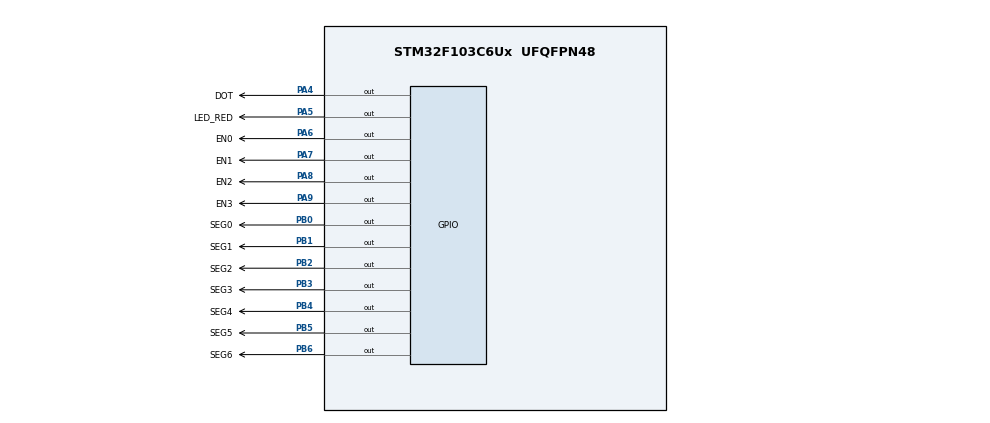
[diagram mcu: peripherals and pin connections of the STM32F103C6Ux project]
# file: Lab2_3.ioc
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Mcu.Family=STM32F1
Mcu.Name=STM32F103C6Ux
Mcu.Package=UFQFPN48
NVIC.PriorityGroup=NVIC_PRIORITYGROUP_4
NVIC.TIM2_IRQn=true\:0\:0\:false\:false\:true\:true\:true
PA4.GPIO_Label=DOT
PA4.Signal=GPIO_Output
PA5.GPIO_Label=LED_RED
PA5.Signal=GPIO_Output
PA6.GPIO_Label=EN0
PA6.Signal=GPIO_Output
PA7.GPIO_Label=EN1
PA7.Signal=GPIO_Output
PA8.GPIO_Label=EN2
PA8.Signal=GPIO_Output
PA9.GPIO_Label=EN3
PA9.Signal=GPIO_Output
PB0.GPIO_Label=SEG0
PB0.Signal=GPIO_Output
PB1.GPIO_Label=SEG1
PB1.Signal=GPIO_Output
PB2.GPIO_Label=SEG2
PB2.Signal=GPIO_Output
PB3.GPIO_Label=SEG3
PB3.Signal=GPIO_Output
PB4.GPIO_Label=SEG4
PB4.Signal=GPIO_Output
PB5.GPIO_Label=SEG5
PB5.Signal=GPIO_Output
PB6.GPIO_Label=SEG6
PB6.Signal=GPIO_Output
ProjectManager.HeapSize=0x200
ProjectManager.StackSize=0x400
ProjectManager.TargetToolchain=STM32CubeIDE
RCC.APB1Freq_Value=8000000
RCC.APB2Freq_Value=8000000
TIM2.Period=9
TIM2.Prescaler=7999
VP_SYS_VS_ND.Mode=No_Debug
VP_TIM2_VS_ClockSourceINT.Mode=Internal
board=custom

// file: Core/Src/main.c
/* USER CODE BEGIN Header */
/**
  ******************************************************************************
  * @file           : main.c
  * @brief          : Main program body
  ******************************************************************************
  * @attention
  *
  * <h2><center>&copy; Copyright (c) 2024 STMicroelectronics.
  * All rights reserved.</center></h2>
  *
  * This software component is licensed by ST under BSD 3-Clause license,
  * the "License"; You may not use this file except in compliance with the
  * License. You may obtain a copy of the License at:
  *                        opensource.org/licenses/BSD-3-Clause
  *
  ******************************************************************************
  */
/* USER CODE END Header */
#include "main.h"

TIM_HandleTypeDef htim2;

void SystemClock_Config(void);
static void MX_GPIO_Init(void);
static void MX_TIM2_Init(void);

int main(void)
{

  /* MCU Configuration--------------------------------------------------------*/

  /* Reset of all peripherals, Initializes the Flash interface and the Systick. */
  HAL_Init();

  /* Configure the system clock */
  SystemClock_Config();

  /* Initialize all configured peripherals */
  MX_GPIO_Init();
  MX_TIM2_Init();
  /* USER CODE BEGIN 2 */
  HAL_TIM_Base_Start_IT(&htim2);
  /* USER CODE END 2 */

  /* Infinite loop */
  while (1)
  {

  }
}

void SystemClock_Config(void)
{
  RCC_OscInitTypeDef RCC_OscInitStruct = {0};
  RCC_ClkInitTypeDef RCC_ClkInitStruct = {0};

  /** Initializes the RCC Oscillators according to the specified parameters
  * in the RCC_OscInitTypeDef structure.
  */
  RCC_OscInitStruct.OscillatorType = RCC_OSCILLATORTYPE_HSI;
  RCC_OscInitStruct.HSIState = RCC_HSI_ON;
  RCC_OscInitStruct.HSICalibrationValue = RCC_HSICALIBRATION_DEFAULT;
  RCC_OscInitStruct.PLL.PLLState = RCC_PLL_NONE;
  if (HAL_RCC_OscConfig(&RCC_OscInitStruct) != HAL_OK)
  {
    Error_Handler();
  }
  /** Initializes the CPU, AHB and APB buses clocks
  */
  RCC_ClkInitStruct.ClockType = RCC_CLOCKTYPE_HCLK|RCC_CLOCKTYPE_SYSCLK
                              |RCC_CLOCKTYPE_PCLK1|RCC_CLOCKTYPE_PCLK2;
  RCC_ClkInitStruct.SYSCLKSource = RCC_SYSCLKSOURCE_HSI;
  RCC_ClkInitStruct.AHBCLKDivider = RCC_SYSCLK_DIV1;
  RCC_ClkInitStruct.APB1CLKDivider = RCC_HCLK_DIV1;
  RCC_ClkInitStruct.APB2CLKDivider = RCC_HCLK_DIV1;

  if (HAL_RCC_ClockConfig(&RCC_ClkInitStruct, FLASH_LATENCY_0) != HAL_OK)
  {
    Error_Handler();
  }
}

static void MX_TIM2_Init(void)
{

  TIM_ClockConfigTypeDef sClockSourceConfig = {0};
  TIM_MasterConfigTypeDef sMasterConfig = {0};

  htim2.Instance = TIM2;
  htim2.Init.Prescaler = 7999;
  htim2.Init.CounterMode = TIM_COUNTERMODE_UP;
  htim2.Init.Period = 9;
  htim2.Init.ClockDivision = TIM_CLOCKDIVISION_DIV1;
  htim2.Init.AutoReloadPreload = TIM_AUTORELOAD_PRELOAD_DISABLE;
  if (HAL_TIM_Base_Init(&htim2) != HAL_OK)
  {
    Error_Handler();
  }
  sClockSourceConfig.ClockSource = TIM_CLOCKSOURCE_INTERNAL;
  if (HAL_TIM_ConfigClockSource(&htim2, &sClockSourceConfig) != HAL_OK)
  {
    Error_Handler();
  }
  sMasterConfig.MasterOutputTrigger = TIM_TRGO_RESET;
  sMasterConfig.MasterSlaveMode = TIM_MASTERSLAVEMODE_DISABLE;
  if (HAL_TIMEx_MasterConfigSynchronization(&htim2, &sMasterConfig) != HAL_OK)
  {
    Error_Handler();
  }

}

static void MX_GPIO_Init(void)
{
  GPIO_InitTypeDef GPIO_InitStruct = {0};

  /* GPIO Ports Clock Enable */
  __HAL_RCC_GPIOA_CLK_ENABLE();
  __HAL_RCC_GPIOB_CLK_ENABLE();

  /*Configure GPIO pin Output Level */
  HAL_GPIO_WritePin(GPIOA, DOT_Pin|LED_RED_Pin|EN0_Pin|EN1_Pin
                          |EN2_Pin|EN3_Pin, GPIO_PIN_RESET);

  /*Configure GPIO pin Output Level */
  HAL_GPIO_WritePin(GPIOB, SEG0_Pin|SEG1_Pin|SEG2_Pin|SEG3_Pin
                          |SEG4_Pin|SEG5_Pin|SEG6_Pin, GPIO_PIN_RESET);

  /*Configure GPIO pins : DOT_Pin LED_RED_Pin EN0_Pin EN1_Pin
                           EN2_Pin EN3_Pin */
  GPIO_InitStruct.Pin = DOT_Pin|LED_RED_Pin|EN0_Pin|EN1_Pin
                          |EN2_Pin|EN3_Pin;
  GPIO_InitStruct.Mode = GPIO_MODE_OUTPUT_PP;
  GPIO_InitStruct.Pull = GPIO_NOPULL;
  GPIO_InitStruct.Speed = GPIO_SPEED_FREQ_LOW;
  HAL_GPIO_Init(GPIOA, &GPIO_InitStruct);

  /*Configure GPIO pins : SEG0_Pin SEG1_Pin SEG2_Pin SEG3_Pin
                           SEG4_Pin SEG5_Pin SEG6_Pin */
  GPIO_InitStruct.Pin = SEG0_Pin|SEG1_Pin|SEG2_Pin|SEG3_Pin
                          |SEG4_Pin|SEG5_Pin|SEG6_Pin;
  GPIO_InitStruct.Mode = GPIO_MODE_OUTPUT_PP;
  GPIO_InitStruct.Pull = GPIO_NOPULL;
  GPIO_InitStruct.Speed = GPIO_SPEED_FREQ_LOW;
  HAL_GPIO_Init(GPIOB, &GPIO_InitStruct);

}

/* USER CODE BEGIN 4 */
void display7SEG(int num)
{
	if(num == 0)
	{
		HAL_GPIO_WritePin(SEG0_GPIO_Port, SEG0_Pin, RESET);
		HAL_GPIO_WritePin(SEG1_GPIO_Port, SEG1_Pin, RESET);
		HAL_GPIO_WritePin(SEG2_GPIO_Port, SEG2_Pin, RESET);
		HAL_GPIO_WritePin(SEG3_GPIO_Port, SEG3_Pin, RESET);
		HAL_GPIO_WritePin(SEG4_GPIO_Port, SEG4_Pin, RESET);
		HAL_GPIO_WritePin(SEG5_GPIO_Port, SEG5_Pin, RESET);
		HAL_GPIO_WritePin(SEG6_GPIO_Port, SEG6_Pin, SET);
	}
	else if(num == 1)
	{
		HAL_GPIO_WritePin(SEG0_GPIO_Port, SEG0_Pin, SET);
		HAL_GPIO_WritePin(SEG1_GPIO_Port, SEG1_Pin, RESET);
		HAL_GPIO_WritePin(SEG2_GPIO_Port, SEG2_Pin, RESET);
		HAL_GPIO_WritePin(SEG3_GPIO_Port, SEG3_Pin, SET);
		HAL_GPIO_WritePin(SEG4_GPIO_Port, SEG4_Pin, SET);
		HAL_GPIO_WritePin(SEG5_GPIO_Port, SEG5_Pin, SET);
		HAL_GPIO_WritePin(SEG6_GPIO_Port, SEG6_Pin, SET);
	}
	else if(num == 2)
	{
		HAL_GPIO_WritePin(SEG0_GPIO_Port, SEG0_Pin, RESET);
		HAL_GPIO_WritePin(SEG1_GPIO_Port, SEG1_Pin, RESET);
		HAL_GPIO_WritePin(SEG2_GPIO_Port, SEG2_Pin, SET);
		HAL_GPIO_WritePin(SEG3_GPIO_Port, SEG3_Pin, RESET);
		HAL_GPIO_WritePin(SEG4_GPIO_Port, SEG4_Pin, RESET);
		HAL_GPIO_WritePin(SEG5_GPIO_Port, SEG5_Pin, SET);
		HAL_GPIO_WritePin(SEG6_GPIO_Port, SEG6_Pin, RESET);
	}
	else if(num == 3)
	{
		HAL_GPIO_WritePin(SEG0_GPIO_Port, SEG0_Pin, RESET);
		HAL_GPIO_WritePin(SEG1_GPIO_Port, SEG1_Pin, RESET);
		HAL_GPIO_WritePin(SEG2_GPIO_Port, SEG2_Pin, RESET);
		HAL_GPIO_WritePin(SEG3_GPIO_Port, SEG3_Pin, RESET);
		HAL_GPIO_WritePin(SEG4_GPIO_Port, SEG4_Pin, SET);
		HAL_GPIO_WritePin(SEG5_GPIO_Port, SEG5_Pin, SET);
		HAL_GPIO_WritePin(SEG6_GPIO_Port, SEG6_Pin, RESET);
	}
	else if(num == 4)
	{
		HAL_GPIO_WritePin(SEG0_GPIO_Port, SEG0_Pin, SET);
		HAL_GPIO_WritePin(SEG1_GPIO_Port, SEG1_Pin, RESET);
		HAL_GPIO_WritePin(SEG2_GPIO_Port, SEG2_Pin, RESET);
		HAL_GPIO_WritePin(SEG3_GPIO_Port, SEG3_Pin, SET);
		HAL_GPIO_WritePin(SEG4_GPIO_Port, SEG4_Pin, SET);
		HAL_GPIO_WritePin(SEG5_GPIO_Port, SEG5_Pin, RESET);
		HAL_GPIO_WritePin(SEG6_GPIO_Port, SEG6_Pin, RESET);
	}
	else if(num == 5)
	{
		HAL_GPIO_WritePin(SEG0_GPIO_Port, SEG0_Pin, RESET);
		HAL_GPIO_WritePin(SEG1_GPIO_Port, SEG1_Pin, SET);
		HAL_GPIO_WritePin(SEG2_GPIO_Port, SEG2_Pin, RESET);
		HAL_GPIO_WritePin(SEG3_GPIO_Port, SEG3_Pin, RESET);
		HAL_GPIO_WritePin(SEG4_GPIO_Port, SEG4_Pin, SET);
		HAL_GPIO_WritePin(SEG5_GPIO_Port, SEG5_Pin, RESET);
		HAL_GPIO_WritePin(SEG6_GPIO_Port, SEG6_Pin, RESET);
	}
	else if(num == 6)
	{
		HAL_GPIO_WritePin(SEG0_GPIO_Port, SEG0_Pin, RESET);
		HAL_GPIO_WritePin(SEG1_GPIO_Port, SEG1_Pin, SET);
		HAL_GPIO_WritePin(SEG2_GPIO_Port, SEG2_Pin, RESET);
		HAL_GPIO_WritePin(SEG3_GPIO_Port, SEG3_Pin, RESET);
		HAL_GPIO_WritePin(SEG4_GPIO_Port, SEG4_Pin, RESET);
		HAL_GPIO_WritePin(SEG5_GPIO_Port, SEG5_Pin, RESET);
		HAL_GPIO_WritePin(SEG6_GPIO_Port, SEG6_Pin, RESET);
	}
	else if(num == 7)
	{
		HAL_GPIO_WritePin(SEG0_GPIO_Port, SEG0_Pin, RESET);
		HAL_GPIO_WritePin(SEG1_GPIO_Port, SEG1_Pin, RESET);
		HAL_GPIO_WritePin(SEG2_GPIO_Port, SEG2_Pin, RESET);
		HAL_GPIO_WritePin(SEG3_GPIO_Port, SEG3_Pin, SET);
		HAL_GPIO_WritePin(SEG4_GPIO_Port, SEG4_Pin, SET);
		HAL_GPIO_WritePin(SEG5_GPIO_Port, SEG5_Pin, SET);
		HAL_GPIO_WritePin(SEG6_GPIO_Port, SEG6_Pin, SET);
	}
	else if(num == 8)
	{
		HAL_GPIO_WritePin(SEG0_GPIO_Port, SEG0_Pin, RESET);
		HAL_GPIO_WritePin(SEG1_GPIO_Port, SEG1_Pin, RESET);
		HAL_GPIO_WritePin(SEG2_GPIO_Port, SEG2_Pin, RESET);
		HAL_GPIO_WritePin(SEG3_GPIO_Port, SEG3_Pin, RESET);
		HAL_GPIO_WritePin(SEG4_GPIO_Port, SEG4_Pin, RESET);
		HAL_GPIO_WritePin(SEG5_GPIO_Port, SEG5_Pin, RESET);
		HAL_GPIO_WritePin(SEG6_GPIO_Port, SEG6_Pin, RESET);
	}
	else if(num == 9)
	{
		HAL_GPIO_WritePin(SEG0_GPIO_Port, SEG0_Pin, RESET);
		HAL_GPIO_WritePin(SEG1_GPIO_Port, SEG1_Pin, RESET);
		HAL_GPIO_WritePin(SEG2_GPIO_Port, SEG2_Pin, RESET);
		HAL_GPIO_WritePin(SEG3_GPIO_Port, SEG3_Pin, RESET);
		HAL_GPIO_WritePin(SEG4_GPIO_Port, SEG4_Pin, SET);
		HAL_GPIO_WritePin(SEG5_GPIO_Port, SEG5_Pin, RESET);
		HAL_GPIO_WritePin(SEG6_GPIO_Port, SEG6_Pin, RESET);
	}
}

const int MAX_LED = 4;
int index_led = 0;
int led_buffer[4] = {1, 2, 3, 4};
int counter = 25;
int eventCounter = 0;

void update7SEG(int index)
{
	switch(index)
	{
	case 0:
		HAL_GPIO_WritePin(EN0_GPIO_Port, EN0_Pin, 0);
		HAL_GPIO_WritePin(EN1_GPIO_Port, EN1_Pin, 1);
		HAL_GPIO_WritePin(EN2_GPIO_Port, EN2_Pin, 1);
		HAL_GPIO_WritePin(EN3_GPIO_Port, EN3_Pin, 1);
		display7SEG(led_buffer[0]);
		break;
	case 1:
		HAL_GPIO_WritePin(EN0_GPIO_Port, EN0_Pin, 1);
		HAL_GPIO_WritePin(EN1_GPIO_Port, EN1_Pin, 0);
		HAL_GPIO_WritePin(EN2_GPIO_Port, EN2_Pin, 1);
		HAL_GPIO_WritePin(EN3_GPIO_Port, EN3_Pin, 1);
		display7SEG(led_buffer[1]);
		break;
	case 2:
		HAL_GPIO_WritePin(EN0_GPIO_Port, EN0_Pin, 1);
		HAL_GPIO_WritePin(EN1_GPIO_Port, EN1_Pin, 1);
		HAL_GPIO_WritePin(EN2_GPIO_Port, EN2_Pin, 0);
		HAL_GPIO_WritePin(EN3_GPIO_Port, EN3_Pin, 1);
		display7SEG(led_buffer[2]);
		break;
	case 3:
		HAL_GPIO_WritePin(EN0_GPIO_Port, EN0_Pin, 1);
		HAL_GPIO_WritePin(EN1_GPIO_Port, EN1_Pin, 1);
		HAL_GPIO_WritePin(EN2_GPIO_Port, EN2_Pin, 1);
		HAL_GPIO_WritePin(EN3_GPIO_Port, EN3_Pin, 0);
		display7SEG(led_buffer[3]);
		break;
	}
}

void HAL_TIM_PeriodElapsedCallback(TIM_HandleTypeDef *htim)
{
	if(counter > 0)
	{
		counter--;
	}

	if(counter <= 0)
	{
		counter = 50;
		eventCounter++;

		if(eventCounter % 2 == 0)
		{
			HAL_GPIO_TogglePin(DOT_GPIO_Port, DOT_Pin);
			eventCounter = 0;
		}

		HAL_GPIO_TogglePin(LED_RED_GPIO_Port, LED_RED_Pin);

		if(index_led >= MAX_LED)
		{
			index_led = 0;
		}

		update7SEG(index_led++);
	}
}
/* USER CODE END 4 */

void Error_Handler(void)
{
  __disable_irq();
  while (1)
  {
  }
}

/************************ (C) COPYRIGHT STMicroelectronics *****END OF FILE****/
